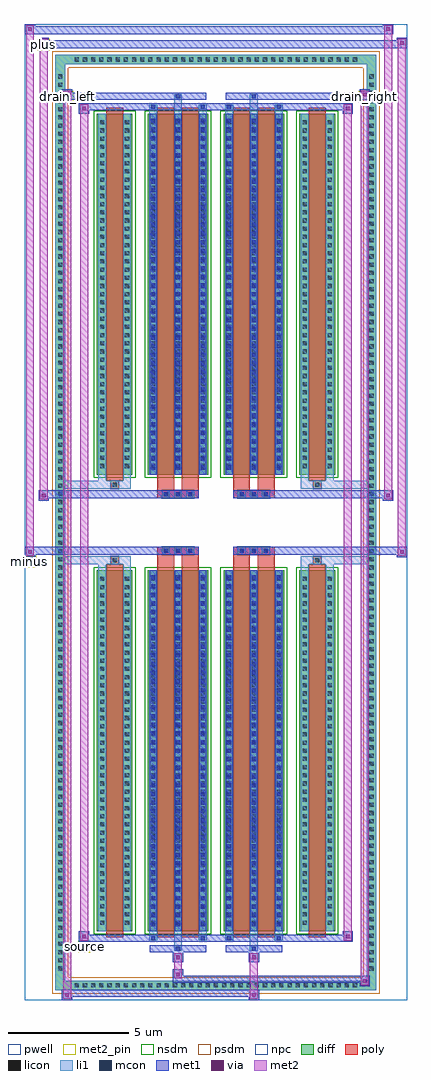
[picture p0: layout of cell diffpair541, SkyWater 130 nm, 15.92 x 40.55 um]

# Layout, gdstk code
import gdstk
lib = gdstk.Library(unit=1e-6, precision=5e-09)
def R(c, l, rs):  # rectangles x0, y0, x1, y1
    for r in rs: c.add(gdstk.rectangle(r[:2], r[2:], *l))
def A(c, l, x, y, w, h, nx, ny, dx, dy):  # array of equal rectangles
    R(c, l, [(x+i*dx, y+j*dy, x+i*dx+w, y+j*dy+h) for i in range(nx) for j in range(ny)])
def P(c, l, *ps):  # polygons
    for p in ps: c.add(gdstk.Polygon(p, *l))
pwell = (64, 44)
diff = (65, 20)
poly = (66, 20)
licon = (66, 44)
li1 = (67, 20)
mcon = (67, 44)
met1 = (68, 20)
via = (68, 44)
met2_pin = (69, 16)
met2 = (69, 20)
nsdm = (93, 44)
psdm = (94, 20)
npc = (95, 20)

diffpair541 = lib.new_cell('diffpair541')
R(diffpair541, pwell, [(-7.94,-19.84,7.94,20.71), (-5.26,-18.03,-0.01,-0.805), (0.01,-18.03,5.26,-0.805), (-5.26,0.805,-0.01,18.03), (0.01,0.805,5.26,18.03)])
A(diffpair541, diff, -5.985, -19.44, 0.41, 0.41, 35, 2, 0.34, 38.47)
A(diffpair541, diff, -6.67, -18.735, 0.41, 0.41, 1, 110, 0, 0.34)
A(diffpair541, diff, 6.26, -18.735, 0.41, 0.41, 1, 110, 0, 0.34)
R(diffpair541, diff, [(-5.985,-19.44,5.985,-19.03), (-6.67,-18.735,-6.26,18.735), (6.26,-18.735,6.67,18.735), (-4.95,-16.985,-3.47,-1.985), (-2.83,-16.985,-0.32,-1.985), (0.32,-16.985,2.83,-1.985), (3.47,-16.985,4.95,-1.985), (-4.95,1.985,-3.47,16.985), (-2.83,1.985,-0.32,16.985), (0.32,1.985,2.83,16.985), (3.47,1.985,4.95,16.985), (-5.985,19.03,5.985,19.44)])
P(diffpair541, diff, [(6.67,19.44),(-6.67,19.44),(-6.67,-19.03),(-6.26,-19.03),(-6.26,19.03),(6.26,19.03),(6.26,-19.03),(-6.26,-19.03),(-6.67,-19.03),(-6.67,-19.44),(6.67,-19.44)])
A(diffpair541, poly, -2.24, -1.335, 0.33, 0.33, 3, 2, 0.5, 2.34)
A(diffpair541, poly, 0.91, -1.335, 0.33, 0.33, 3, 2, 0.5, 2.34)
R(diffpair541, poly, [(-4.56,-17.235,-3.86,-1.735), (-2.44,-17.235,-1.74,-1.735), (-1.41,-17.235,-0.71,-1.735), (0.71,-17.235,1.41,-1.735), (1.74,-17.235,2.44,-1.735), (3.86,-17.235,4.56,-1.735), (-4.375,-1.735,-4.045,-1.405), (-4.375,-1.735,-4.045,-1.405), (-2.44,-1.735,-1.74,-1.335), (-1.41,-1.735,-0.71,-1.335), (0.71,-1.735,1.41,-1.335), (1.74,-1.735,2.44,-1.335), (4.045,-1.735,4.375,-1.405), (4.045,-1.735,4.375,-1.405), (-2.44,-1.335,-0.71,-1.005), (0.71,-1.335,2.44,-1.005), (-2.44,1.005,-0.71,1.335), (0.71,1.005,2.44,1.335), (-2.44,1.335,-1.74,1.735), (-1.41,1.335,-0.71,1.735), (0.71,1.335,1.41,1.735), (1.74,1.335,2.44,1.735), (-4.375,1.405,-4.045,1.735), (-4.375,1.405,-4.045,1.735), (4.045,1.405,4.375,1.735), (4.045,1.405,4.375,1.735), (-4.56,1.735,-3.86,17.235), (-2.44,1.735,-1.74,17.235), (-1.41,1.735,-0.71,17.235), (0.71,1.735,1.41,17.235), (1.74,1.735,2.44,17.235), (3.86,1.735,4.56,17.235)])
A(diffpair541, licon, -5.865, -19.32, 0.17, 0.17, 35, 2, 0.34, 38.47)
A(diffpair541, licon, -6.55, -18.615, 0.17, 0.17, 1, 110, 0, 0.34)
A(diffpair541, licon, 6.38, -18.615, 0.17, 0.17, 1, 110, 0, 0.34)
A(diffpair541, licon, -4.81, -16.71, 0.17, 0.17, 1, 43, 0, 0.34)
A(diffpair541, licon, -3.78, -16.71, 0.17, 0.17, 1, 43, 0, 0.34)
A(diffpair541, licon, -2.69, -16.71, 0.17, 0.17, 3, 43, 1.03, 0.34)
A(diffpair541, licon, 0.46, -16.71, 0.17, 0.17, 3, 43, 1.03, 0.34)
A(diffpair541, licon, 3.61, -16.71, 0.17, 0.17, 1, 43, 0, 0.34)
A(diffpair541, licon, 4.64, -16.71, 0.17, 0.17, 1, 43, 0, 0.34)
A(diffpair541, licon, -2.16, -1.255, 0.17, 0.17, 3, 2, 0.5, 2.34)
A(diffpair541, licon, 0.99, -1.255, 0.17, 0.17, 3, 2, 0.5, 2.34)
A(diffpair541, licon, -4.81, 2.26, 0.17, 0.17, 1, 43, 0, 0.34)
A(diffpair541, licon, -3.78, 2.26, 0.17, 0.17, 1, 43, 0, 0.34)
A(diffpair541, licon, -2.69, 2.26, 0.17, 0.17, 3, 43, 1.03, 0.34)
A(diffpair541, licon, 0.46, 2.26, 0.17, 0.17, 3, 43, 1.03, 0.34)
A(diffpair541, licon, 3.61, 2.26, 0.17, 0.17, 1, 43, 0, 0.34)
A(diffpair541, licon, 4.64, 2.26, 0.17, 0.17, 1, 43, 0, 0.34)
R(diffpair541, licon, [(-4.295,-1.655,-4.125,-1.485), (4.125,-1.655,4.295,-1.485), (-4.295,1.485,-4.125,1.655), (4.125,1.485,4.295,1.655)])
A(diffpair541, li1, -5.945, -19.4, 0.33, 0.33, 35, 2, 0.34, 38.47)
A(diffpair541, li1, -6.63, -18.695, 0.33, 0.33, 1, 110, 0, 0.34)
A(diffpair541, li1, 6.3, -18.695, 0.33, 0.33, 1, 110, 0, 0.34)
A(diffpair541, li1, -2.77, -16.985, 0.33, 15, 3, 2, 1.03, 18.97)
A(diffpair541, li1, 0.38, -16.985, 0.33, 15, 3, 2, 1.03, 18.97)
A(diffpair541, li1, -4.89, -16.79, 0.33, 0.33, 1, 43, 0, 0.34)
A(diffpair541, li1, -3.86, -16.79, 0.33, 0.33, 1, 43, 0, 0.34)
A(diffpair541, li1, -2.77, -16.79, 0.33, 0.33, 3, 43, 1.03, 0.34)
A(diffpair541, li1, 0.38, -16.79, 0.33, 0.33, 3, 43, 1.03, 0.34)
A(diffpair541, li1, 3.53, -16.79, 0.33, 0.33, 1, 43, 0, 0.34)
A(diffpair541, li1, 4.56, -16.79, 0.33, 0.33, 1, 43, 0, 0.34)
A(diffpair541, li1, -2.69, -16.77, 0.17, 0.17, 3, 41, 1.03, 0.36)
A(diffpair541, li1, -2.69, -16.77, 0.17, 14.57, 3, 2, 1.03, 18.97)
A(diffpair541, li1, 0.46, -16.77, 0.17, 0.17, 3, 41, 1.03, 0.36)
A(diffpair541, li1, 0.46, -16.77, 0.17, 14.57, 3, 2, 1.03, 18.97)
A(diffpair541, li1, -2.24, -1.335, 0.33, 0.33, 3, 2, 0.5, 2.34)
A(diffpair541, li1, 0.91, -1.335, 0.33, 0.33, 3, 2, 0.5, 2.34)
A(diffpair541, li1, -4.89, 2.18, 0.33, 0.33, 1, 43, 0, 0.34)
A(diffpair541, li1, -3.86, 2.18, 0.33, 0.33, 1, 43, 0, 0.34)
A(diffpair541, li1, -2.77, 2.18, 0.33, 0.33, 3, 43, 1.03, 0.34)
A(diffpair541, li1, 0.38, 2.18, 0.33, 0.33, 3, 43, 1.03, 0.34)
A(diffpair541, li1, 3.53, 2.18, 0.33, 0.33, 1, 43, 0, 0.34)
A(diffpair541, li1, 4.56, 2.18, 0.33, 0.33, 1, 43, 0, 0.34)
A(diffpair541, li1, -2.69, 2.2, 0.17, 0.17, 3, 41, 1.03, 0.36)
A(diffpair541, li1, 0.46, 2.2, 0.17, 0.17, 3, 41, 1.03, 0.36)
R(diffpair541, li1, [(-6.67,-19.44,-6.26,-19.03), (-6.67,-19.44,-6.26,-19.03), (-6.26,-19.44,6.26,-19.03), (6.26,-19.44,6.67,-19.03), (6.26,-19.44,6.67,-19.03), (-6.67,-19.03,-6.26,19.03), (6.26,-19.03,6.67,19.03), (-1.74,-17.79,-1.41,-16.985), (-1.66,-17.79,-1.49,-17.62), (1.41,-17.79,1.74,-16.985), (1.49,-17.79,1.66,-17.62), (-2.77,-17.36,-2.44,-16.985), (-2.69,-17.36,-2.52,-17.19), (-0.71,-17.36,-0.38,-16.985), (-0.63,-17.36,-0.46,-17.19), (0.38,-17.36,0.71,-16.985), (0.46,-17.36,0.63,-17.19), (2.44,-17.36,2.77,-16.985), (2.52,-17.36,2.69,-17.19), (-4.89,-16.985,-4.56,-1.985), (-3.86,-16.985,-3.53,-1.985), (3.53,-16.985,3.86,-1.985), (4.56,-16.985,4.89,-1.985), (-4.89,-1.985,-4.56,-1.405), (-3.86,-1.985,-3.53,-1.405), (3.53,-1.985,3.86,-1.405), (4.56,-1.985,4.89,-1.405), (-6.67,-1.735,-4.375,-1.405), (-4.89,-1.735,-4.375,-1.405), (-4.375,-1.735,-4.045,-1.405), (-4.045,-1.735,-3.53,-1.405), (3.53,-1.735,4.045,-1.405), (4.045,-1.735,4.375,-1.405), (4.045,-1.735,6.67,-1.405), (4.375,-1.735,4.89,-1.405), (-6.67,1.405,-4.375,1.735), (-4.89,1.405,-4.375,1.735), (-4.89,1.405,-4.56,1.985), (-4.375,1.405,-4.045,1.735), (-4.045,1.405,-3.53,1.735), (-3.86,1.405,-3.53,1.985), (3.53,1.405,4.045,1.735), (3.53,1.405,3.86,1.985), (4.045,1.405,4.375,1.735), (4.045,1.405,6.67,1.735), (4.375,1.405,4.89,1.735), (4.56,1.405,4.89,1.985), (-4.89,1.985,-4.56,16.985), (-3.86,1.985,-3.53,16.985), (3.53,1.985,3.86,16.985), (4.56,1.985,4.89,16.985), (-2.77,16.985,-2.44,17.36), (-1.74,16.985,-1.41,17.79), (-0.71,16.985,-0.38,17.36), (0.38,16.985,0.71,17.36), (1.41,16.985,1.74,17.79), (2.44,16.985,2.77,17.36), (-2.69,17.19,-2.52,17.36), (-0.63,17.19,-0.46,17.36), (0.46,17.19,0.63,17.36), (2.52,17.19,2.69,17.36), (-1.66,17.62,-1.49,17.79), (1.49,17.62,1.66,17.79), (-6.67,19.03,-6.26,19.44), (-6.67,19.03,-6.26,19.44), (-6.26,19.03,6.26,19.44), (6.26,19.03,6.67,19.44), (6.26,19.03,6.67,19.44)])
A(diffpair541, mcon, -2.69, -16.77, 0.17, 0.17, 3, 41, 1.03, 0.36)
A(diffpair541, mcon, 0.46, -16.77, 0.17, 0.17, 3, 41, 1.03, 0.36)
A(diffpair541, mcon, -2.16, -1.255, 0.17, 0.17, 3, 2, 0.5, 2.34)
A(diffpair541, mcon, 0.99, -1.255, 0.17, 0.17, 3, 2, 0.5, 2.34)
A(diffpair541, mcon, -2.69, 2.2, 0.17, 0.17, 3, 41, 1.03, 0.36)
A(diffpair541, mcon, 0.46, 2.2, 0.17, 0.17, 3, 41, 1.03, 0.36)
R(diffpair541, mcon, [(-1.66,-17.79,-1.49,-17.62), (1.49,-17.79,1.66,-17.62), (-2.69,-17.36,-2.52,-17.19), (-0.63,-17.36,-0.46,-17.19), (0.46,-17.36,0.63,-17.19), (2.52,-17.36,2.69,-17.19), (-2.69,17.19,-2.52,17.36), (-0.63,17.19,-0.46,17.36), (0.46,17.19,0.63,17.36), (2.52,17.19,2.69,17.36), (-1.66,17.62,-1.49,17.79), (1.49,17.62,1.66,17.79)])
A(diffpair541, met1, -2.75, -16.985, 0.29, 15, 3, 2, 1.03, 18.97)
A(diffpair541, met1, 0.4, -16.985, 0.29, 15, 3, 2, 1.03, 18.97)
A(diffpair541, met1, -2.75, -16.83, 0.29, 0.29, 3, 41, 1.03, 0.36)
A(diffpair541, met1, 0.4, -16.83, 0.29, 0.29, 3, 41, 1.03, 0.36)
A(diffpair541, met1, -2.22, -1.315, 0.29, 0.29, 3, 2, 0.5, 2.34)
A(diffpair541, met1, 0.93, -1.315, 0.29, 0.29, 3, 2, 0.5, 2.34)
A(diffpair541, met1, -2.75, 2.14, 0.29, 0.29, 3, 41, 1.03, 0.36)
A(diffpair541, met1, 0.4, 2.14, 0.29, 0.29, 3, 41, 1.03, 0.36)
R(diffpair541, met1, [(-6.4,-19.84,-5.97,-19.41), (1.36,-19.84,1.79,-19.41), (-6.4,-19.7,1.79,-19.41), (5.97,-19.27,6.4,-18.84), (-1.79,-19.13,6.4,-18.84), (-1.79,-18.99,-1.36,-18.56), (-1.79,-18.28,-1.36,-17.85), (1.36,-18.28,1.79,-17.85), (-2.75,-17.85,-0.4,-17.56), (-1.72,-17.85,-1.43,-17.56), (0.4,-17.85,2.75,-17.56), (1.43,-17.85,1.72,-17.56), (-5.69,-17.42,-5.26,-16.99), (-5.69,-17.42,-2.75,-17.13), (-2.75,-17.42,-2.46,-17.13), (-2.75,-17.42,-0.4,-17.13), (-0.69,-17.42,-0.4,-17.13), (-0.4,-17.42,0.4,-17.13), (0.4,-17.42,0.69,-17.13), (0.4,-17.42,2.75,-17.13), (2.46,-17.42,2.75,-17.13), (2.75,-17.42,5.69,-17.13), (5.26,-17.42,5.69,-16.99), (-7.94,-1.435,-7.51,-1.005), (7.51,-1.435,7.94,-1.005), (-7.94,-1.335,-0.71,-1.005), (-2.44,-1.335,-0.71,-1.005), (0.71,-1.335,2.44,-1.005), (0.71,-1.335,7.94,-1.005), (-7.37,0.905,-6.94,1.335), (6.94,0.905,7.37,1.335), (-7.37,1.005,-2.44,1.335), (-2.44,1.005,-0.71,1.335), (0.71,1.005,2.44,1.335), (2.44,1.005,7.37,1.335), (-5.69,16.99,-5.26,17.42), (5.26,16.99,5.69,17.42), (-5.69,17.13,-2.75,17.42), (-2.75,17.13,-2.46,17.42), (-2.75,17.13,-0.4,17.42), (-0.69,17.13,-0.4,17.42), (-0.4,17.13,0.4,17.42), (0.4,17.13,0.69,17.42), (0.4,17.13,2.75,17.42), (2.46,17.13,2.75,17.42), (2.75,17.13,5.69,17.42), (-6.4,17.56,-5.97,17.99), (-6.4,17.56,-2.75,17.85), (-2.75,17.56,-0.4,17.85), (-1.72,17.56,-1.43,17.85), (0.4,17.56,2.75,17.85), (1.43,17.56,1.72,17.85), (2.75,17.56,6.4,17.85), (5.97,17.56,6.4,17.99), (-7.37,19.71,-6.94,20.14), (-7.37,19.71,-5.26,20.04), (-5.26,19.71,5.26,20.04), (5.26,19.71,7.94,20.04), (7.51,19.71,7.94,20.14), (-7.94,20.28,-7.51,20.71), (-7.94,20.28,-5.26,20.61), (-5.26,20.28,5.26,20.61), (5.26,20.28,7.37,20.61), (6.94,20.28,7.37,20.71)])
R(diffpair541, via, [(-6.26,-19.7,-6.11,-19.55), (1.5,-19.7,1.65,-19.55), (6.11,-19.13,6.26,-18.98), (-1.65,-18.85,-1.5,-18.7), (-1.65,-18.14,-1.5,-17.99), (1.5,-18.14,1.65,-17.99), (-5.55,-17.28,-5.4,-17.13), (5.4,-17.28,5.55,-17.13), (-7.8,-1.295,-7.65,-1.145), (7.65,-1.295,7.8,-1.145), (-7.23,1.045,-7.08,1.195), (7.08,1.045,7.23,1.195), (-5.55,17.13,-5.4,17.28), (5.4,17.13,5.55,17.28), (-6.26,17.7,-6.11,17.85), (6.11,17.7,6.26,17.85), (-7.23,19.85,-7.08,20), (7.65,19.85,7.8,20), (-7.8,20.42,-7.65,20.57), (7.08,20.42,7.23,20.57)])
R(diffpair541, met2_pin, [(-5.725,-17.87,-5.225,-17.37), (-7.975,-1.885,-7.475,-1.385), (-6.435,17.44,-5.935,17.94), (5.935,17.44,6.435,17.94), (-7.405,19.59,-6.905,20.09)])
R(diffpair541, met2, [(-6.35,-19.79,-6.02,-19.46), (-6.35,-19.79,-6.02,17.94), (1.41,-19.79,1.74,-19.46), (1.41,-19.46,1.74,-18.23), (6.02,-19.22,6.35,-18.89), (6.02,-19.22,6.35,17.94), (-1.74,-18.94,-1.41,-18.61), (-1.74,-18.61,-1.41,-18.23), (-1.74,-18.23,-1.41,-17.9), (1.41,-18.23,1.74,-17.9), (-5.64,-17.37,-5.31,-17.04), (-5.64,-17.37,-5.31,17.37), (5.31,-17.37,5.64,-17.04), (5.31,-17.37,5.64,17.37), (-7.89,-1.385,-7.56,-1.055), (-7.89,-1.385,-7.56,20.66), (7.56,-1.385,7.89,-1.055), (7.56,-1.385,7.89,20.09), (-7.32,0.955,-6.99,1.285), (-7.32,0.955,-6.99,20.09), (6.99,0.955,7.32,1.285), (6.99,0.955,7.32,20.66), (-5.64,17.04,-5.31,17.37), (5.31,17.04,5.64,17.37), (-6.35,17.61,-6.02,17.94), (6.02,17.61,6.35,17.94), (-7.32,19.76,-6.99,20.09), (7.56,19.76,7.89,20.09), (-7.89,20.33,-7.56,20.66), (6.99,20.33,7.32,20.66)])
P(diffpair541, met2, [(7.89,-1.385),(7.89,-1.385),(7.89,-1.055),(7.89,-1.055)],
  [(7.89,19.76),(7.89,19.76),(7.89,20.09),(7.89,20.09)],
  [(-7.56,-1.385),(-7.56,-1.385),(-7.56,-1.055),(-7.56,-1.055)],
  [(-7.56,20.33),(-7.56,20.33),(-7.56,20.66),(-7.56,20.66)],
  [(7.32,0.955),(7.32,0.955),(7.32,1.285),(7.32,1.285)],
  [(7.32,20.33),(7.32,20.33),(7.32,20.66),(7.32,20.66)],
  [(-6.99,0.955),(-6.99,0.955),(-6.99,1.285),(-6.99,1.285)],
  [(-6.99,19.76),(-6.99,19.76),(-6.99,20.09),(-6.99,20.09)],
  [(-6.02,-19.79),(-6.02,-19.79),(-6.02,-19.46),(-6.02,-19.46)],
  [(-6.02,17.61),(-6.02,17.61),(-6.02,17.94),(-6.02,17.94)],
  [(6.35,-19.22),(6.35,-19.22),(6.35,-18.89),(6.35,-18.89)],
  [(6.35,17.61),(6.35,17.61),(6.35,17.94),(6.35,17.94)],
  [(-5.31,-17.37),(-5.31,-17.37),(-5.31,-17.04),(-5.31,-17.04)],
  [(-5.31,17.04),(-5.31,17.04),(-5.31,17.37),(-5.31,17.37)],
  [(5.64,-17.37),(5.64,-17.37),(5.64,-17.04),(5.64,-17.04)],
  [(5.64,17.04),(5.64,17.04),(5.64,17.37),(5.64,17.37)])
R(diffpair541, nsdm, [(-5.08,-17.115,-3.34,-1.855), (-2.96,-17.115,-0.19,-1.855), (0.19,-17.115,2.96,-1.855), (3.34,-17.115,5.08,-1.855), (-5.08,1.855,-3.34,17.115), (-2.96,1.855,-0.19,17.115), (0.19,1.855,2.96,17.115), (3.34,1.855,5.08,17.115)])
P(diffpair541, psdm, [(6.8,19.57),(-6.8,19.57),(-6.8,-18.9),(-6.13,-18.9),(-6.13,18.9),(6.13,18.9),(6.13,-18.9),(-6.13,-18.9),(-6.8,-18.9),(-6.8,-19.57),(6.8,-19.57)])
A(diffpair541, npc, -2.26, -1.355, 0.37, 0.37, 3, 2, 0.5, 2.34)
A(diffpair541, npc, 0.89, -1.355, 0.37, 0.37, 3, 2, 0.5, 2.34)
R(diffpair541, npc, [(-4.395,-1.755,-4.025,-1.385), (4.025,-1.755,4.395,-1.385), (-2.26,-1.355,-1.39,-0.985), (-2.26,-1.355,-1.39,-0.985), (-1.76,-1.355,-0.89,-0.985), (-1.76,-1.355,-0.89,-0.985), (0.89,-1.355,1.76,-0.985), (0.89,-1.355,1.76,-0.985), (1.39,-1.355,2.26,-0.985), (1.39,-1.355,2.26,-0.985), (-2.26,0.985,-1.39,1.355), (-2.26,0.985,-1.39,1.355), (-1.76,0.985,-0.89,1.355), (-1.76,0.985,-0.89,1.355), (0.89,0.985,1.76,1.355), (0.89,0.985,1.76,1.355), (1.39,0.985,2.26,1.355), (1.39,0.985,2.26,1.355), (-4.395,1.385,-4.025,1.755), (4.025,1.385,4.395,1.755)])
diffpair541.add(gdstk.Label('minus', (-7.725,-1.635), layer=69, texttype=5))
diffpair541.add(gdstk.Label('drain_right', (6.185,17.69), layer=69, texttype=5))
diffpair541.add(gdstk.Label('drain_left', (-6.185,17.69), layer=69, texttype=5))
diffpair541.add(gdstk.Label('source', (-5.475,-17.62), layer=69, texttype=5))
diffpair541.add(gdstk.Label('plus', (-7.155,19.84), layer=69, texttype=5))

lib.write_gds('diffpair541.gds')
